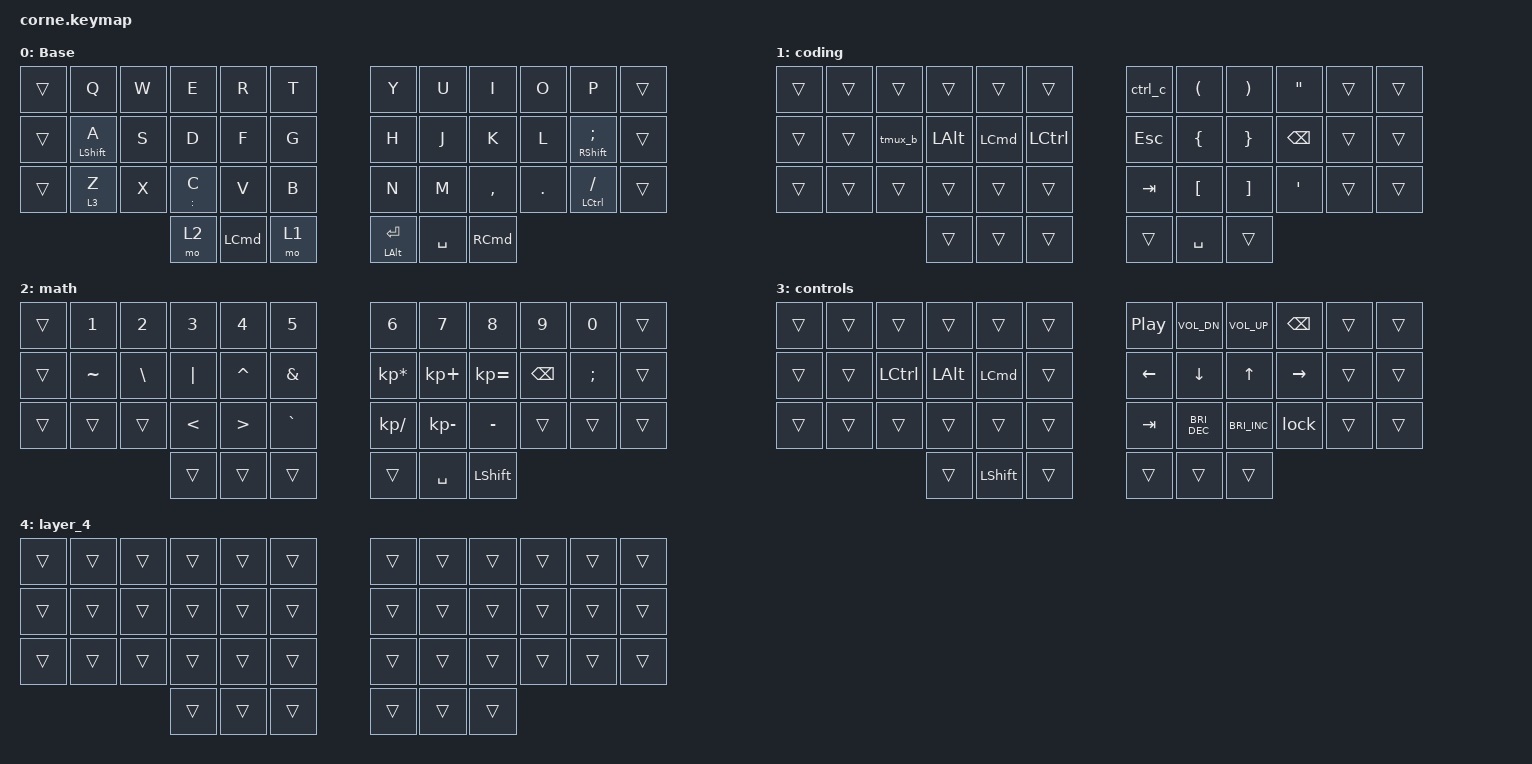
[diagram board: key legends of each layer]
/*
 * Copyright (c) 2020 The ZMK Contributors
 *
 * SPDX-License-Identifier: MIT
 */

#include <behaviors.dtsi>
#include <dt-bindings/zmk/keys.h>

/ {
    combos {
        compatible = "zmk,combos";

        screenshot {
            bindings = <&kp LG(LS(NUMBER_4))>;
            key-positions = <36 17>;
        };

        emoji {
            bindings = <&kp LC(LG(SPACE))>;
            key-positions = <36 15>;
        };

        sswholescreen {
            bindings = <&kp LG(LS(NUMBER_3))>;
            key-positions = <36 16>;
        };
    };

    macros {
        ctrl_c: ctrl_c {
            compatible = "zmk,behavior-macro";
            #binding-cells = <0>;
            bindings = <&kp LC(C)>;
            label = "CTRL_C";
        };

        tmux_b: tmux_b {
            compatible = "zmk,behavior-macro";
            #binding-cells = <0>;
            bindings = <&kp LC(B)>;
            label = "TMUX_B";
        };

        lock: lock {
            compatible = "zmk,behavior-macro";
            #binding-cells = <0>;
            bindings = <&kp LG(LC(Q))>;
            label = "LOCK";
        };
    };

    behaviors {
        new_behavior: new_behavior {
            compatible = "zmk,behavior-hold-tap";
            label = "NEW_BEHAVIOR";
            bindings = <&mo>, <&kp>;

            #binding-cells = <2>;
            flavor = "tap-preferred";
            tapping-term-ms = <200>;
            quick-tap-ms = <200>;
        };

        kp_tap: kp_tap {
            compatible = "zmk,behavior-hold-tap";
            label = "KP_TAP";
            bindings = <&kp>, <&kp>;

            #binding-cells = <2>;
            tapping-term-ms = <200>;
            quick-tap-ms = <200>;
            flavor = "tap-preferred";
        };

        kp_tap_long: kp_tap_long {
            compatible = "zmk,behavior-hold-tap";
            label = "KP_TAP_LONG";
            bindings = <&kp>, <&kp>;

            #binding-cells = <2>;
            tapping-term-ms = <400>;
            quick-tap-ms = <200>;
            flavor = "tap-preferred";
        };
    };

    keymap {
        compatible = "zmk,keymap";

        default_layer {
            // -----------------------------------------------------------------------------------------
            // |  TAB |  Q  |  W  |  E  |  R  |  T  |   |  Y  |  U   |  I  |  O  |  P  | BKSP |
            // | CTRL |  A  |  S  |  D  |  F  |  G  |   |  H  |  J   |  K  |  L  |  ;  |  '   |
            // | SHFT |  Z  |  X  |  C  |  V  |  B  |   |  N  |  M   |  ,  |  .  |  /  | ESC  |
            //                    | GUI | LWR | SPC |   | ENT | RSE  | ALT |

            display-name = "Base";
            bindings = <
&trans  &kp Q                 &kp W  &kp E            &kp R             &kp T    &kp Y                 &kp U      &kp I              &kp O    &kp P                     &trans
&trans  &kp_tap LEFT_SHIFT A  &kp S  &kp D            &kp F             &kp G    &kp H                 &kp J      &kp K              &kp L    &kp_tap RIGHT_SHIFT SEMI  &trans
&trans  &new_behavior 3 Z     &kp X  &kp_tap COLON C  &kp V             &kp B    &kp N                 &kp M      &kp COMMA          &kp DOT  &kp_tap LCTRL SLASH       &trans
                                     &mo 2            &kp LEFT_COMMAND  &mo 1    &kp_tap LEFT_ALT RET  &kp SPACE  &kp RIGHT_COMMAND
            >;
        };

        coding {
            bindings = <
&trans  &trans  &trans   &trans        &trans            &trans       &ctrl_c     &kp LEFT_PARENTHESIS  &kp RIGHT_PARENTHESIS  &kp DOUBLE_QUOTES  &trans  &trans
&trans  &trans  &tmux_b  &kp LEFT_ALT  &kp LEFT_COMMAND  &kp LCTRL    &kp ESCAPE  &kp LEFT_BRACE        &kp RIGHT_BRACE        &kp BACKSPACE      &trans  &trans
&trans  &trans  &trans   &trans        &trans            &trans       &kp TAB     &kp LEFT_BRACKET      &kp RIGHT_BRACKET      &kp SINGLE_QUOTE   &trans  &trans
                         &trans        &trans            &trans       &trans      &kp SPACE             &trans
            >;
        };

        math {
            bindings = <
&trans  &kp N1     &kp N2         &kp N3         &kp N4            &kp N5           &kp N6           &kp N7        &kp N8          &kp N9         &kp N0         &trans
&trans  &kp TILDE  &kp BACKSLASH  &kp PIPE       &kp CARET         &kp AMPERSAND    &kp KP_ASTERISK  &kp KP_PLUS   &kp KP_EQUAL    &kp BACKSPACE  &kp SEMICOLON  &trans
&trans  &trans     &trans         &kp LESS_THAN  &kp GREATER_THAN  &kp GRAVE        &kp KP_SLASH     &kp KP_MINUS  &kp MINUS       &trans         &trans         &trans
                                  &trans         &trans            &trans           &trans           &kp SPACE     &kp LEFT_SHIFT
            >;
        };

        controls {
            bindings = <
&trans  &trans  &trans            &trans        &trans            &trans    &kp C_PLAY_PAUSE  &kp C_VOL_DN          &kp C_VOLUME_UP       &kp BACKSPACE  &trans  &trans
&trans  &trans  &kp LEFT_CONTROL  &kp LEFT_ALT  &kp LEFT_COMMAND  &trans    &kp LEFT          &kp DOWN              &kp UP                &kp RIGHT      &trans  &trans
&trans  &trans  &trans            &trans        &trans            &trans    &kp TAB           &kp C_BRIGHTNESS_DEC  &kp C_BRIGHTNESS_INC  &lock          &trans  &trans
                                  &trans        &kp LEFT_SHIFT    &trans    &trans            &trans                &trans
            >;
        };

        layer_4 {
            bindings = <
&trans  &trans  &trans  &trans  &trans  &trans    &trans  &trans  &trans  &trans  &trans  &trans
&trans  &trans  &trans  &trans  &trans  &trans    &trans  &trans  &trans  &trans  &trans  &trans
&trans  &trans  &trans  &trans  &trans  &trans    &trans  &trans  &trans  &trans  &trans  &trans
                        &trans  &trans  &trans    &trans  &trans  &trans
            >;
        };
    };
};
